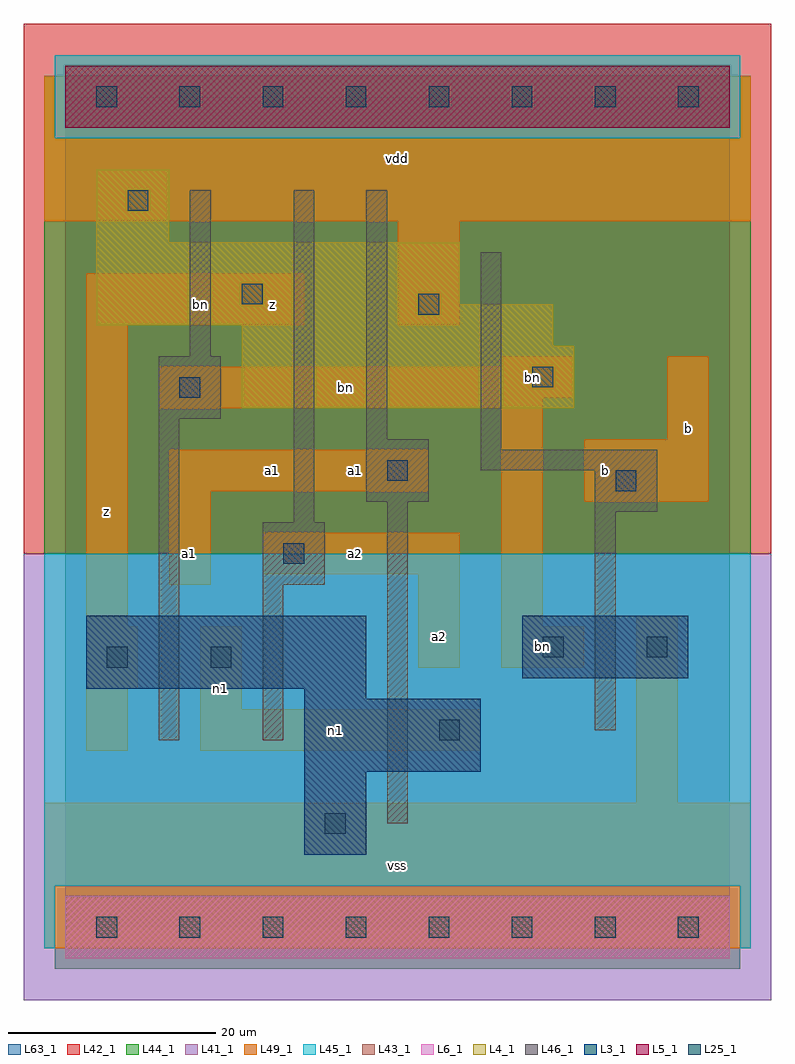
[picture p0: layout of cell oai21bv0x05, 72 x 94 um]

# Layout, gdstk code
import gdstk
lib = gdstk.Library(unit=1e-6, precision=1e-09)
def R(c, l, rs):  # rectangles x0, y0, x1, y1
    for r in rs: c.add(gdstk.rectangle(r[:2], r[2:], *l))
def A(c, l, x, y, w, h, nx, ny, dx, dy):  # array of equal rectangles
    R(c, l, [(x+i*dx, y+j*dy, x+i*dx+w, y+j*dy+h) for i in range(nx) for j in range(ny)])
L3_1 = (3, 1)
L4_1 = (4, 1)
L5_1 = (5, 1)
L6_1 = (6, 1)
L25_1 = (25, 1)
L41_1 = (41, 1)
L42_1 = (42, 1)
L43_1 = (43, 1)
L44_1 = (44, 1)
L45_1 = (45, 1)
L46_1 = (46, 1)
L49_1 = (49, 1)
L63_1 = (63, 1)

oai21bv0x05 = lib.new_cell('oai21bv0x05')
R(oai21bv0x05, L3_1, [(23,7,29,15), (23,15,40,22), (23,22,29,23), (2,23,29,30), (44,24,60,30)])
R(oai21bv0x05, L4_1, [(17,50,49,56), (17,56,47,58), (3,58,47,60), (3,60,38,66), (3,66,10,73)])
R(oai21bv0x05, L5_1, [(0,77,64,83)])
R(oai21bv0x05, L6_1, [(0,-3,64,3), (0,-3,64,3)])
A(oai21bv0x05, L25_1, 3, -1, 2, 2, 8, 2, 8, 80)
R(oai21bv0x05, L25_1, [(25,9,27,11), (36,18,38,20), (4,25,6,27), (14,25,16,27), (46,26,48,28), (56,26,58,28), (21,35,23,37), (53,42,55,44), (31,43,33,45), (11,51,13,53), (45,52,47,54), (34,59,36,61), (17,60,19,62), (6,69,8,71)])
R(oai21bv0x05, L41_1, [(-4,-7,68,36)])
R(oai21bv0x05, L42_1, [(-4,36,68,87)])
R(oai21bv0x05, L43_1, [(0,-3,64,3), (23,7,29,15), (23,15,40,22), (23,22,29,23), (2,23,29,30), (44,24,60,30), (17,50,49,56), (17,56,47,58), (3,58,47,60), (3,60,38,66), (3,66,10,73), (0,77,64,83)])
R(oai21bv0x05, L44_1, [(-1,-4,65,4), (-2,36,66,76), (-2,76,-1,82), (65,76,66,82)])
R(oai21bv0x05, L45_1, [(-2,-2,-1,4), (65,-2,66,4), (-2,4,66,36), (-1,76,65,84)])
R(oai21bv0x05, L46_1, [(31,10,33,41), (9,18,11,49), (19,18,21,33), (51,19,53,40), (19,33,25,39), (22,39,24,71), (51,40,57,44), (29,41,35,47), (40,44,57,46), (40,46,42,65), (29,47,31,71), (9,49,15,55), (12,55,14,71)])
R(oai21bv0x05, L49_1, [(-2,-2,66,12), (55,12,59,30), (2,17,6,23), (13,17,40,21), (13,21,17,29), (2,23,7,29), (34,25,38,34), (42,25,50,29), (2,29,6,58), (42,29,46,50), (10,33,14,42), (19,34,38,38), (50,41,62,47), (10,42,35,46), (58,47,62,55), (9,50,46,51), (9,51,49,54), (42,54,49,55), (2,58,23,63), (32,58,38,68), (-2,68,66,82)])
R(oai21bv0x05, L63_1, [(0,0,64,80)])
oai21bv0x05.add(gdstk.Label('bn', (13,60), layer=46, texttype=1))
oai21bv0x05.add(gdstk.Label('z', (4,40), layer=49, texttype=1))
oai21bv0x05.add(gdstk.Label('n1', (15,23), layer=49, texttype=1))
oai21bv0x05.add(gdstk.Label('a1', (12,36), layer=49, texttype=1))
oai21bv0x05.add(gdstk.Label('a1', (20,44), layer=49, texttype=1))
oai21bv0x05.add(gdstk.Label('z', (12,60), layer=49, texttype=1))
oai21bv0x05.add(gdstk.Label('z', (20,60), layer=49, texttype=1))
oai21bv0x05.add(gdstk.Label('vss', (32,6), layer=49, texttype=1))
oai21bv0x05.add(gdstk.Label('a2', (36,28), layer=49, texttype=1))
oai21bv0x05.add(gdstk.Label('a2', (28,36), layer=49, texttype=1))
oai21bv0x05.add(gdstk.Label('a1', (28,44), layer=49, texttype=1))
oai21bv0x05.add(gdstk.Label('vdd', (32,74), layer=49, texttype=1))
oai21bv0x05.add(gdstk.Label('n1', (26,19), layer=49, texttype=1))
oai21bv0x05.add(gdstk.Label('bn', (46,27), layer=49, texttype=1))
oai21bv0x05.add(gdstk.Label('bn', (27,52), layer=49, texttype=1))
oai21bv0x05.add(gdstk.Label('bn', (45,53), layer=49, texttype=1))
oai21bv0x05.add(gdstk.Label('b', (52,44), layer=49, texttype=1))
oai21bv0x05.add(gdstk.Label('b', (60,48), layer=49, texttype=1))

lib.write_gds('oai21bv0x05.gds')
